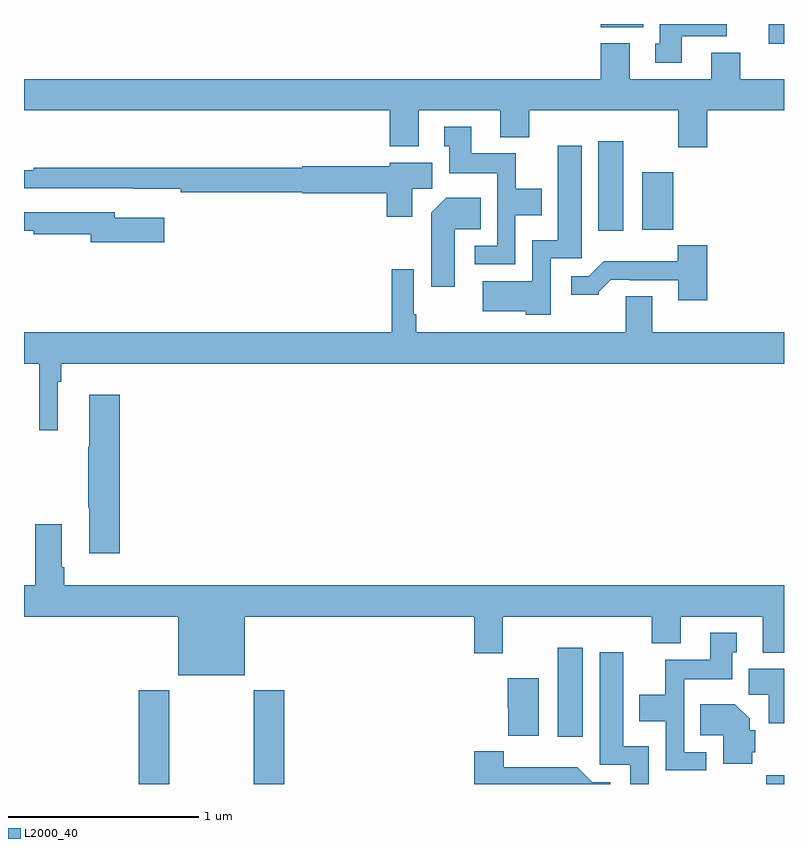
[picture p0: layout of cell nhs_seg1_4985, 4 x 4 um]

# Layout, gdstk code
import gdstk
lib = gdstk.Library(unit=1e-6, precision=1e-09)
def R(c, l, rs):  # rectangles x0, y0, x1, y1
    for r in rs: c.add(gdstk.rectangle(r[:2], r[2:], *l))
def P(c, l, *ps):  # polygons
    for p in ps: c.add(gdstk.Polygon(p, *l))
L2000_40 = (2000, 40)

nhs_seg1_4985 = lib.new_cell('nhs_seg1_4985')
R(nhs_seg1_4985, L2000_40, [(381.605,536.199,381.765,536.692), (382.21,536.199,382.37,536.692), (384.907,536.199,385,536.245), (383.81,536.448,383.941,536.917), (384.023,539.112,384.154,539.581), (384.92,540.096,385,540.199), (384.036,540.182,384.259,540.199)])
P(nhs_seg1_4985, L2000_40, [(384.463,540.134),(384.699,540.134),(384.699,540.199),(384.347,540.199),(384.347,540.096),(384.323,540.096),(384.323,539.994),(384.463,539.994)],
  [(384.596,539.744),(385,539.744),(385,539.908),(384.77,539.908),(384.77,540.049),(384.617,540.049),(384.617,539.908),(384.187,539.908),(384.187,540.097),(384.035,540.097),(384.035,539.908),(381,539.908),(381,539.744),(382.925,539.744),(382.925,539.555),(383.077,539.555),(383.077,539.744),(383.507,539.744),(383.507,539.603),(383.66,539.603),(383.66,539.744),(384.443,539.744),(384.443,539.55),(384.596,539.55)],
  [(383.586,539.192),(383.725,539.192),(383.725,539.332),(383.589,539.332),(383.589,539.518),(383.353,539.518),(383.353,539.659),(383.213,539.659),(383.213,539.556),(383.237,539.556),(383.237,539.414),(383.49,539.414),(383.49,539.031),(383.373,539.031),(383.373,538.935),(383.586,538.935)],
  [(383.772,538.965),(383.935,538.965),(383.935,539.557),(383.81,539.557),(383.81,539.062),(383.676,539.062),(383.676,538.846),(383.415,538.846),(383.415,538.688),(383.64,538.688),(383.64,538.67),(383.772,538.67)],
  [(383.044,539.332),(383.149,539.332),(383.149,539.47),(382.926,539.47),(382.926,539.451),(382.464,539.451),(382.464,539.443),(381.052,539.443),(381.052,539.43),(381,539.43),(381,539.334),(381.574,539.334),(381.574,539.333),(381.826,539.333),(381.826,539.314),(382.464,539.314),(382.464,539.309),(382.91,539.309),(382.91,539.184),(383.044,539.184)],
  [(384.416,539.265),(384.418,539.265),(384.418,539.419),(384.254,539.419),(384.254,539.117),(384.416,539.117)],
  [(383.266,539.12),(383.405,539.12),(383.405,539.284),(383.222,539.284),(383.144,539.206),(383.144,538.815),(383.266,538.815)],
  [(381.739,539.179),(381.478,539.179),(381.478,539.208),(381,539.208),(381,539.111),(381.052,539.111),(381.052,539.092),(381.35,539.092),(381.35,539.05),(381.739,539.05)],
  [(384.596,539.035),(384.441,539.035),(384.441,538.951),(384.052,538.951),(383.973,538.872),(383.88,538.872),(383.88,538.775),(384.024,538.775),(384.024,538.79),(384.088,538.854),(384.187,538.854),(384.187,538.851),(384.443,538.851),(384.443,538.746),(384.596,538.746)],
  [(381.178,538.316),(381.197,538.316),(381.197,538.412),(385,538.412),(385,538.576),(384.307,538.576),(384.307,538.766),(384.167,538.766),(384.167,538.576),(383.065,538.576),(383.065,538.672),(383.052,538.672),(383.052,538.909),(382.936,538.909),(382.936,538.576),(381,538.576),(381,538.412),(381.081,538.412),(381.081,538.062),(381.178,538.062)],
  [(381.503,538.249),(381.344,538.249),(381.344,537.974),(381.337,537.974),(381.337,537.652),(381.344,537.652),(381.344,537.414),(381.503,537.414)],
  [(382.162,537.08),(383.369,537.08),(383.369,536.886),(383.521,536.886),(383.521,537.08),(384.305,537.08),(384.305,536.939),(384.457,536.939),(384.457,537.08),(384.887,537.08),(384.887,536.891),(385,536.891),(385,537.244),(381.212,537.244),(381.212,537.34),(381.199,537.34),(381.199,537.565),(381.059,537.565),(381.059,537.244),(381,537.244),(381,537.08),(381.812,537.08),(381.812,536.771),(382.162,536.771)],
  [(384.592,536.367),(384.474,536.367),(384.474,536.75),(384.727,536.75),(384.727,536.892),(384.751,536.892),(384.751,536.995),(384.611,536.995),(384.611,536.854),(384.376,536.854),(384.376,536.668),(384.239,536.668),(384.239,536.528),(384.378,536.528),(384.378,536.271),(384.592,536.271)],
  [(384.288,536.398),(384.154,536.398),(384.154,536.893),(384.029,536.893),(384.029,536.301),(384.192,536.301),(384.192,536.199),(384.288,536.199)],
  [(385,536.806),(384.815,536.806),(384.815,536.668),(384.921,536.668),(384.921,536.52),(385,536.52)],
  [(383.71,536.755),(383.546,536.755),(383.546,536.601),(383.548,536.601),(383.548,536.453),(383.71,536.453)],
  [(384.833,536.367),(384.849,536.367),(384.849,536.481),(384.82,536.481),(384.82,536.542),(384.742,536.62),(384.559,536.62),(384.559,536.456),(384.68,536.456),(384.68,536.306),(384.833,536.306)],
  [(384.085,536.208),(383.991,536.208),(383.913,536.287),(383.524,536.287),(383.524,536.371),(383.369,536.371),(383.369,536.199),(384.085,536.199)])

lib.write_gds('nhs_seg1_4985.gds')
